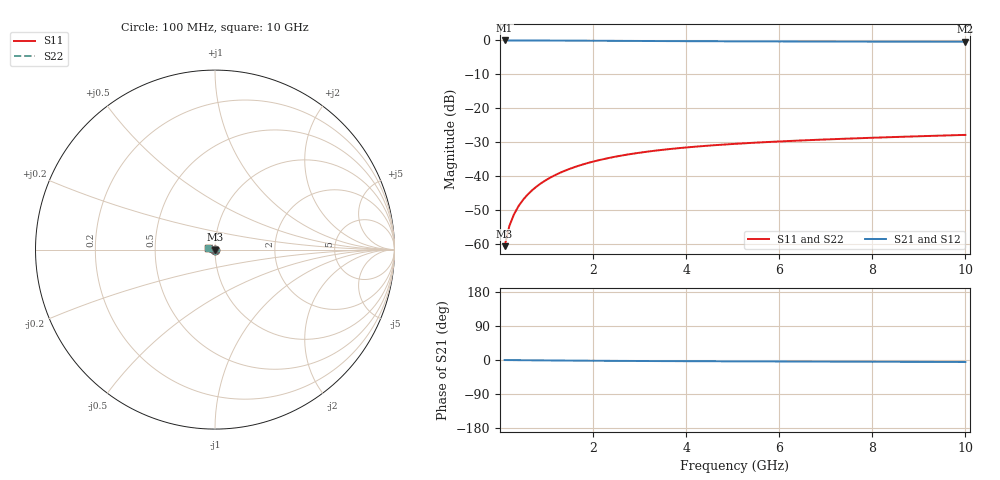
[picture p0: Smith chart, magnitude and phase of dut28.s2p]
! Touchstone file exported from HFSS 2024.1.0
!  File:  C:/UserFiles/LocalFiles/RDL_TSV_Batchsim/temp_TSV1_28_1779369793.aedt
!  Generated:  09:30:22 PM May 21, 2026
!  Design:  TSV1
!  Project:  temp_TSV1_28_1779369793
!  Setup:  Setup1
!  Solution:  Sweep
! Variables:
!  dtsv = 7.61um
!  hbump = 3um
!  htsv = 81.86um
!  lrdl = 252.1521522um
!  p = 40
!  p1 = 46.97um
!  t = 500um
!  trdl = 3um
!  wrdl = 24.89489489um
# GHz S MA R 50.000000
! Terminal data exported
! Port[1] = TSV22_T1
! Port[2] = TSV22_T2
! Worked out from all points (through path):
!   100 points, 100 MHz to 10 GHz, reference 50 ohm
!   highest |S21| = 0.00 dB at 100 MHz (marker M1); lowest = -0.4 dB at 10 GHz (marker M2)
!   lowest |S11| = -60.5 dB at 100 MHz (marker M3), VSWR 1.00, Z = 50 - j0.0914 ohm
!   |S11| at or under -10 dB: start of sweep to end of sweep
!   |S22| runs from -60.5 to -27.8 dB; largest |S21 - S12| = 6.5e-15
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0.1  0.0009408 -76.2  0.9997 -0.1  0.9997 -0.1  0.0009408 -76.2
! Gamma 0 0 0 0
! Port Impedance 50 0 50 0
0.2  0.001844 -85.6  0.9996 -0.2  0.9996 -0.2  0.001844 -85.6
0.3  0.002754 -90.1  0.9994 -0.3  0.9994 -0.3  0.002754 -90.1
0.4  0.00366 -93.3  0.9992 -0.4  0.9992 -0.4  0.00366 -93.3
0.5  0.004561 -95.9  0.999 -0.6  0.999 -0.6  0.004561 -95.9
0.6  0.005453 -98.3  0.9986 -0.7  0.9986 -0.7  0.005453 -98.3
0.7  0.006337 -100.5  0.9983 -0.8  0.9983 -0.8  0.006337 -100.5
0.8  0.007209 -102.6  0.9978 -0.9  0.9978 -0.9  0.007209 -102.6
0.9  0.00807 -104.6  0.9974 -1.0  0.9974 -1.0  0.00807 -104.6
1.1  0.00975 -108.4  0.9963 -1.2  0.9963 -1.2  0.00975 -108.4
1.4  0.01215 -113.9  0.9945 -1.5  0.9945 -1.5  0.01215 -113.9
1.6  0.01367 -117.3  0.9931 -1.6  0.9931 -1.6  0.01367 -117.3
1.8  0.01512 -120.6  0.9916 -1.8  0.9916 -1.8  0.01512 -120.6
2.1  0.01715 -125.4  0.9894 -2.0  0.9894 -2.0  0.01715 -125.4
2.5  0.01961 -131.4  0.9863 -2.3  0.9863 -2.3  0.01961 -131.4
2.9  0.0218 -136.9  0.9833 -2.6  0.9833 -2.6  0.0218 -136.9
3.4  0.02419 -143.2  0.9798 -2.8  0.9798 -2.8  0.02419 -143.2
4.2  0.02737 -152.3  0.9748 -3.2  0.9748 -3.2  0.02737 -152.3
5.1  0.03026 -161.0  0.9702 -3.6  0.9702 -3.6  0.03026 -161.0
6.7  0.03429 -173.9  0.9642 -4.1  0.9642 -4.1  0.03429 -173.9
8.4  0.03779 175.1  0.9599 -4.7  0.9599 -4.7  0.03779 175.1
10  0.0408 166.4  0.9571 -5.3  0.9571 -5.3  0.0408 166.4
